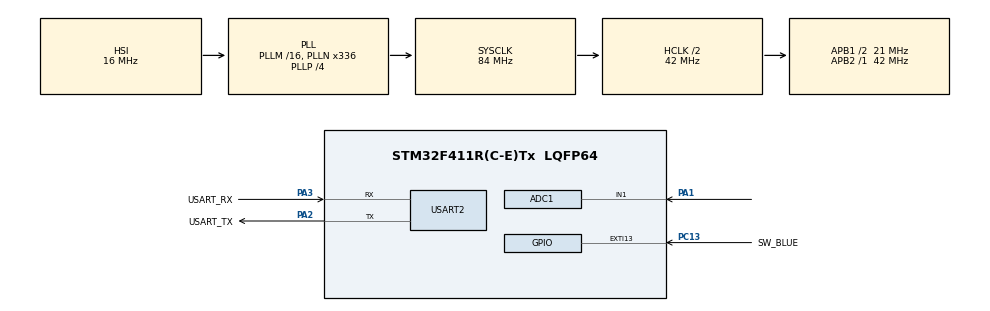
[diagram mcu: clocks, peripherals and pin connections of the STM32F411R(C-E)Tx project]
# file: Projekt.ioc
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ADC1.Channel-0\#ChannelRegularConversion=ADC_CHANNEL_1
ADC1.ClockPrescaler=ADC_CLOCK_SYNC_PCLK_DIV8
ADC1.ContinuousConvMode=ENABLE
ADC1.DMAContinuousRequests=ENABLE
ADC1.NbrOfConversion=1
ADC1.NbrOfConversionFlag=1
ADC1.Rank-0\#ChannelRegularConversion=1
ADC1.Resolution=ADC_RESOLUTION_12B
ADC1.SamplingTime-0\#ChannelRegularConversion=ADC_SAMPLETIME_480CYCLES
ADC1.ScanConvMode=ENABLE
ADC1.master=1
Dma.ADC1.0.Direction=DMA_PERIPH_TO_MEMORY
Dma.ADC1.0.FIFOMode=DMA_FIFOMODE_DISABLE
Dma.ADC1.0.Instance=DMA2_Stream0
Dma.ADC1.0.MemDataAlignment=DMA_MDATAALIGN_HALFWORD
Dma.ADC1.0.MemInc=DMA_MINC_ENABLE
Dma.ADC1.0.Mode=DMA_CIRCULAR
Dma.ADC1.0.PeriphDataAlignment=DMA_PDATAALIGN_HALFWORD
Dma.ADC1.0.PeriphInc=DMA_PINC_DISABLE
Dma.ADC1.0.Priority=DMA_PRIORITY_LOW
Dma.Request0=ADC1
Mcu.Family=STM32F4
Mcu.Name=STM32F411R(C-E)Tx
Mcu.Package=LQFP64
NVIC.ADC_IRQn=true\:0\:0\:false\:false\:true\:true\:true
NVIC.DMA2_Stream0_IRQn=true\:0\:0\:false\:false\:true\:false\:true
NVIC.PriorityGroup=NVIC_PRIORITYGROUP_0
NVIC.USART2_IRQn=true\:0\:0\:false\:false\:true\:true\:true
PA0-WKUP.Signal=ADCx_IN0
PA1.Signal=ADCx_IN1
PA13.GPIO_Label=TMS
PA13.Mode=Serial_Wire
PA13.Signal=SYS_JTMS-SWDIO
PA14.GPIO_Label=TCK
PA14.Mode=Serial_Wire
PA14.Signal=SYS_JTCK-SWCLK
PA2.GPIO_Label=USART_TX
PA2.Mode=Asynchronous
PA2.Signal=USART2_TX
PA3.GPIO_Label=USART_RX
PA3.Mode=Asynchronous
PA3.Signal=USART2_RX
PB3.GPIO_Label=SWO
PB3.Signal=SYS_JTDO-SWO
PC13-ANTI_TAMP.GPIO_Label=SW_BLUE
PC13-ANTI_TAMP.GPIO_ModeDefaultEXTI=GPIO_MODE_IT_FALLING
PC13-ANTI_TAMP.Signal=GPXTI13
PC14-OSC32_IN.Mode=LSE-External-Oscillator
PC14-OSC32_IN.Signal=RCC_OSC32_IN
PC15-OSC32_OUT.Mode=LSE-External-Oscillator
PC15-OSC32_OUT.Signal=RCC_OSC32_OUT
PH0\ -\ OSC_IN.Mode=HSE-External-Clock-Source
PH0\ -\ OSC_IN.Signal=RCC_OSC_IN
PH1\ -\ OSC_OUT.Mode=HSE-External-Clock-Source
PH1\ -\ OSC_OUT.Signal=RCC_OSC_OUT
ProjectManager.HeapSize=0x200
ProjectManager.StackSize=0x400
ProjectManager.TargetToolchain=STM32CubeIDE
RCC.48MHZClocksFreq_Value=84000000
RCC.AHBCLKDivider=RCC_SYSCLK_DIV2
RCC.AHBFreq_Value=42000000
RCC.APB1CLKDivider=RCC_HCLK_DIV2
RCC.APB1Freq_Value=21000000
RCC.APB1TimFreq_Value=42000000
RCC.APB2Freq_Value=42000000
RCC.APB2TimFreq_Value=42000000
RCC.CortexFreq_Value=42000000
RCC.FLatency-AdvancedSettings=FLASH_LATENCY_1
RCC.HCLKFreq_Value=42000000
RCC.HSE_VALUE=8000000
RCC.HSI_VALUE=16000000
RCC.PLLN=336
RCC.PLLP=RCC_PLLP_DIV4
RCC.SYSCLKFreq_VALUE=84000000
RCC.SYSCLKSource=RCC_SYSCLKSOURCE_PLLCLK
RCC.VCOOutputFreq_Value=336000000
SH.ADCx_IN0.0=ADC1_IN0
SH.ADCx_IN1.0=ADC1_IN1,IN1
USART2.VirtualMode=VM_ASYNC
board=NUCLEO-F411RE

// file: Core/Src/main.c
/* USER CODE BEGIN Header */
/**
  ******************************************************************************
  * @file           : main.c
  * @brief          : Main program body
  ******************************************************************************
  * @attention
  *
  * <h2><center>&copy; Copyright (c) 2021 STMicroelectronics.
  * All rights reserved.</center></h2>
  *
  * This software component is licensed by ST under BSD 3-Clause license,
  * the "License"; You may not use this file except in compliance with the
  * License. You may obtain a copy of the License at:
  *                        opensource.org/licenses/BSD-3-Clause
  *
  ******************************************************************************
  */
/* USER CODE END Header */
#include "main.h"

/* USER CODE BEGIN Includes */
#include <string.h>
#include <stdio.h>
#include <stdarg.h>
#include <math.h>
/* USER CODE END Includes */

/* USER CODE BEGIN PD */
void clean_frame(char * tab ,int len);
void clean_after_all(int len);
int tmp_to_hz(uint32_t temp);
void clean_frame(char * tab ,int len);

/* USER CODE END PD */

ADC_HandleTypeDef hadc1;
DMA_HandleTypeDef hdma_adc1;

UART_HandleTypeDef huart2;

/* USER CODE BEGIN PV */
// ZMIENNE DO MySysTick()

uint8_t ms_set=0;
extern uint16_t arg;

//BUFOROWE ZMIENNE

#define USART_TXBUF_LEN 2000 //długość nadawczego bufora
#define USART_RXBUF_LEN 2000 //długość odbiorczego bufora
uint8_t USART_TxBuf[USART_TXBUF_LEN]; //bufor nadawczy
uint8_t USART_RxBuf[USART_RXBUF_LEN]; //bufor odbiorczy

__IO int USART_TX_Empty = 0;
__IO int USART_TX_Busy = 0;
__IO int USART_RX_Empty = 0;
__IO int USART_RX_Busy = 0;

//ZMIENNE DO GENERACJI SINUSA

uint16_t fs = 10000;
const double PI = 3.14;
int f = 1;
int tablica_wartosci[10000];

//ZMIENNE DO CZUJNIKA TEMPERATURY

uint32_t temp;

//ZMIENNE DO RAMKI

#define  FRSTART 0x3A
#define FREND 0x3B
#define FRCOD 0x5C
#define FRCODS 0x61
#define FRCODE 0x62
int fr_busy = 0;
char receiver_name[4];
char sender_name[4];
char command[257];
char frame[264];
int frame_read=0;

//zmienne do testów

int k=0;
int zakonczone = 1;

// zmienne do DMA

uint16_t dma_buff[4096];
uint32_t i=0;
uint32_t suma_dma;

//Zmienne ogolnie

int sin_transmit = 0;
int hz=0;

/* USER CODE END PV */

void SystemClock_Config(void);
static void MX_GPIO_Init(void);
static void MX_DMA_Init(void);
static void MX_USART2_UART_Init(void);
static void MX_ADC1_Init(void);
/* USER CODE BEGIN PFP */
void MySysTick(int arg){

	static uint16_t ms=0;
	ms++;
	if(ms>arg)
	{
		ms=0;
		ms_set=1;
	}

}

uint8_t USART_RX_IsEmpty(){
	if(USART_RX_Busy == USART_RX_Empty)
	{
		return 0;
	}else{
		return 1;
	}
}//Funkcja sprawdzajacy czy bufor odbiorczy jest pusty

uint8_t USART_GC(){
	uint8_t tmp;
	if(USART_RX_Empty!=USART_RX_Busy)
	{
		tmp = USART_RxBuf[USART_RX_Busy];
		USART_RX_Busy++;
		if(USART_RX_Busy >= USART_RXBUF_LEN) USART_RX_Busy =0;
		return tmp;
	}else
	{
		return 0;
	}
} //Funkcja zwracająca znak

uint16_t USART_GD(char *buf){
	static uint8_t bf[1052];
	static uint16_t index=0;
	uint8_t buff_helper[1052];
	uint16_t len_com;
	while(USART_RX_IsEmpty())
	{
		bf[index] = USART_GC();
		if(bf[index] == FRSTART){
			frame_read = 1;
			bf[0] = bf[index];
			index = 0;
		}
		if (frame_read == 1) {
			if ((bf[index] == FREND)) {
				for (int i = 0; i <= index; i++) {
					buff_helper[i] = bf[i];
				}
				len_com = index;
				int y = 0, i = 0;
				if (len_com > 6) {
					while (i <= len_com) {
						char singlefrchar = buff_helper[i];
						switch (singlefrchar) {
						case FRCOD: {
							if (buff_helper[i + 1] == FRCODS) {
								frame[y] = FRSTART;
								i++;
							} else if (buff_helper[i + 1] == FRCODE) {
								frame[y] = FREND;
								i++;
							} else if (buff_helper[i + 1] == FRCOD) {
								frame[y] = FRCOD;
								i++;
							} else {
								i = len_com;
							}
							break;
						}
						case FREND: {
							memcpy(sender_name, &frame[1], 3);
							memcpy(receiver_name, &frame[4], 3);
							memcpy(command, &frame[7], (y - 6));
							//					wykonywanie komendy
							if (memcmp("STM", receiver_name, 3) == 0
									&& memcmp("STM", sender_name, 3) != 0) {
								if (memcmp("", command, 1) == 0) {
									USART_send(":STM%sFREMPTY;\r\n", sender_name);
									clean_after_all(y);
								} else {
									if (memcmp("temp", command, 4) == 0) {
										USART_send(":STM%stemp,%i;\r\n", sender_name,temp);
										clean_after_all(y);
									} else if (memcmp("sin", command, 3) == 0) {
										sin_transmit = 1;
										hz = tmp_to_hz(temp);
									} else if (memcmp("hz", command, 2) == 0) {
										hz = tmp_to_hz(temp);
										USART_send(":STM%shz,%i;\r\n", sender_name, hz);
										clean_after_all(y);

									} else {
										USART_send(":STM%sCOM404;\r\n", sender_name);
										clean_after_all(y);

									}
								}
							} else {
								clean_after_all(y);
							}
							break;
						}
						default: {
							frame[y] = buff_helper[i];
						}
						}
						y++;
						i++;
					}
				}
				index = 0;
			} else {
				index++;
				if (index > 526) {
					index = 0;
					frame_read = 0;
				}
			}
		}
	}
	return 0;
}//Funkcja odbierająca dane

void USART_send(char* format,...){
	char tmp_s[1052];
	int i;
	__IO int index;
	va_list arglist;
	va_start(arglist,format);
	vsprintf(tmp_s,format,arglist);
	va_end(arglist);
	index=USART_TX_Empty;
	for(i=0;i<strlen(tmp_s);i++){
		USART_TxBuf[index] = tmp_s[i];
		index++;
		if(index >= USART_TXBUF_LEN) index=0;
	}

	__disable_irq();
	if((USART_TX_Empty == USART_TX_Busy) && (__HAL_UART_GET_FLAG(&huart2,UART_FLAG_TXE)==SET)){ //2 parametr sprawdza bufor nadajnika
		USART_TX_Empty = index;
		uint8_t tmp=USART_TxBuf[USART_TX_Busy];
		USART_TX_Busy++;
		if(USART_TX_Busy >= USART_TXBUF_LEN) USART_TX_Busy = 0;
		HAL_UART_Transmit_IT(&huart2,&tmp,1);

	}else{
		USART_TX_Empty = index;
	}
	__enable_irq();
}//Funkcja wysyłająca dane

void HAL_UART_TxCpltCallback(UART_HandleTypeDef *huart){
	if(huart == &huart2){
		if(USART_TX_Empty != USART_TX_Busy){
			uint8_t tmp= USART_TxBuf[USART_TX_Busy];
			USART_TX_Busy++;
			if(USART_TX_Busy >= USART_TXBUF_LEN) USART_TX_Busy =0;
			HAL_UART_Transmit_IT(&huart2, &tmp , 1);
		}
	}
}

void HAL_UART_RxCpltCallback(UART_HandleTypeDef *huart){
	if(huart == &huart2){
		USART_RX_Empty++;
		if(USART_RX_Empty >= USART_RXBUF_LEN) USART_RX_Empty=0;
		HAL_UART_Receive_IT(&huart2, &USART_RxBuf[USART_RX_Empty], 1);
	}
}

void HAL_ADC_ConvCpltCallback(ADC_HandleTypeDef* hadc1){
	int i;
	suma_dma=0;
	for(i= 2048 ; i<4096 ; i++){
		suma_dma += dma_buff[i];
	}
	temp = (((suma_dma/2048)*3.3)/4095)*100;
}

void HAL_ADC_ConvHalfCpltCallback(ADC_HandleTypeDef* hadc1){
	int i;
	suma_dma=0;
	for(i= 0 ; i<2048 ; i++){
		suma_dma += dma_buff[i];
	}
	temp = (((suma_dma/2048)*3.3)/4095)*100;
}

void generacja_sinusa(int  *tablica_wartosci ) {

	int n,f=1; // n = ilość próbek na jeden okres sygnału
	double faza_sygnalu;
	uint16_t i = 0;
	n = fs / f; //obliczenie ilości próbek w momencie zmiany f

	while (i < n) {
		faza_sygnalu = ((i * 2 * PI * f) / fs);
		*(tablica_wartosci+i) = 2048 + (sin(faza_sygnalu) * 2048);
		i = i + 1;
	}
	i = 0;
}// Funkcja generująca sinusa

void clean_frame(char * tab ,int len){

	for(int i = 0 ; i<=len ; i++)
	{
		*(tab+i) = '\0';
	}
}

void clean_after_all(int len){

	clean_frame(frame, len);
	clean_frame(command, (len - 6));

}

int tmp_to_hz(uint32_t temp){
	int value,hz=200;
	value = 55+temp;
	for(int i =0 ; i<value;i++){
		hz+=9;
	}
	return hz;
}

/* USER CODE END PFP */

int main(void)
{

  /* MCU Configuration--------------------------------------------------------*/

  /* Reset of all peripherals, Initializes the Flash interface and the Systick. */
  HAL_Init();

  /* Configure the system clock */
  SystemClock_Config();

  /* Initialize all configured peripherals */
  MX_GPIO_Init();
  MX_DMA_Init();
  MX_USART2_UART_Init();
  MX_ADC1_Init();
  /* USER CODE BEGIN 2 */
  HAL_UART_Receive_IT(&huart2, &USART_RxBuf[0], 1);
  HAL_ADC_Start_DMA(&hadc1,dma_buff, 4096); // Start ADC z DMA

  int len = 0,b=0,a=0;
  char bx[1052]; //ewentualnie 526
  clean_frame(bx, 1051);
  generacja_sinusa(tablica_wartosci);
  clean_frame(frame, len);
  arg=200;
  /* USER CODE END 2 */

  /* Infinite loop */
  /* USER CODE BEGIN WHILE */
	while (1) {

		if(ms_set==1){
			USART_GD(bx);
			ms_set=0;
		}
		if (sin_transmit == 1) {
			arg = 50;
			if(a > 9999){
				sin_transmit=0;
				a=0;
				b=0;
				clean_after_all(10);
				arg=200;
			}else{
				if(ms_set==1){
					USART_send(":STM%ssin,%i,%i;\r\n", sender_name ,b,tablica_wartosci[a]);
					ms_set=0;
					a+=hz;
					b++;
				}
			}
		}
    /* USER CODE END WHILE */

  }
}

void SystemClock_Config(void)
{
  RCC_OscInitTypeDef RCC_OscInitStruct = {0};
  RCC_ClkInitTypeDef RCC_ClkInitStruct = {0};

  /** Configure the main internal regulator output voltage
  */
  __HAL_RCC_PWR_CLK_ENABLE();
  __HAL_PWR_VOLTAGESCALING_CONFIG(PWR_REGULATOR_VOLTAGE_SCALE1);
  /** Initializes the RCC Oscillators according to the specified parameters
  * in the RCC_OscInitTypeDef structure.
  */
  RCC_OscInitStruct.OscillatorType = RCC_OSCILLATORTYPE_HSI;
  RCC_OscInitStruct.HSIState = RCC_HSI_ON;
  RCC_OscInitStruct.HSICalibrationValue = RCC_HSICALIBRATION_DEFAULT;
  RCC_OscInitStruct.PLL.PLLState = RCC_PLL_ON;
  RCC_OscInitStruct.PLL.PLLSource = RCC_PLLSOURCE_HSI;
  RCC_OscInitStruct.PLL.PLLM = 16;
  RCC_OscInitStruct.PLL.PLLN = 336;
  RCC_OscInitStruct.PLL.PLLP = RCC_PLLP_DIV4;
  RCC_OscInitStruct.PLL.PLLQ = 4;
  if (HAL_RCC_OscConfig(&RCC_OscInitStruct) != HAL_OK)
  {
    Error_Handler();
  }
  /** Initializes the CPU, AHB and APB buses clocks
  */
  RCC_ClkInitStruct.ClockType = RCC_CLOCKTYPE_HCLK|RCC_CLOCKTYPE_SYSCLK
                              |RCC_CLOCKTYPE_PCLK1|RCC_CLOCKTYPE_PCLK2;
  RCC_ClkInitStruct.SYSCLKSource = RCC_SYSCLKSOURCE_PLLCLK;
  RCC_ClkInitStruct.AHBCLKDivider = RCC_SYSCLK_DIV2;
  RCC_ClkInitStruct.APB1CLKDivider = RCC_HCLK_DIV2;
  RCC_ClkInitStruct.APB2CLKDivider = RCC_HCLK_DIV1;

  if (HAL_RCC_ClockConfig(&RCC_ClkInitStruct, FLASH_LATENCY_1) != HAL_OK)
  {
    Error_Handler();
  }
}

static void MX_ADC1_Init(void)
{

  ADC_ChannelConfTypeDef sConfig = {0};

  /** Configure the global features of the ADC (Clock, Resolution, Data Alignment and number of conversion)
  */
  hadc1.Instance = ADC1;
  hadc1.Init.ClockPrescaler = ADC_CLOCK_SYNC_PCLK_DIV8;
  hadc1.Init.Resolution = ADC_RESOLUTION_12B;
  hadc1.Init.ScanConvMode = ENABLE;
  hadc1.Init.ContinuousConvMode = ENABLE;
  hadc1.Init.DiscontinuousConvMode = DISABLE;
  hadc1.Init.ExternalTrigConvEdge = ADC_EXTERNALTRIGCONVEDGE_NONE;
  hadc1.Init.ExternalTrigConv = ADC_SOFTWARE_START;
  hadc1.Init.DataAlign = ADC_DATAALIGN_RIGHT;
  hadc1.Init.NbrOfConversion = 1;
  hadc1.Init.DMAContinuousRequests = ENABLE;
  hadc1.Init.EOCSelection = ADC_EOC_SINGLE_CONV;
  if (HAL_ADC_Init(&hadc1) != HAL_OK)
  {
    Error_Handler();
  }
  /** Configure for the selected ADC regular channel its corresponding rank in the sequencer and its sample time.
  */
  sConfig.Channel = ADC_CHANNEL_1;
  sConfig.Rank = 1;
  sConfig.SamplingTime = ADC_SAMPLETIME_480CYCLES;
  if (HAL_ADC_ConfigChannel(&hadc1, &sConfig) != HAL_OK)
  {
    Error_Handler();
  }

}

static void MX_USART2_UART_Init(void)
{

  huart2.Instance = USART2;
  huart2.Init.BaudRate = 115200;
  huart2.Init.WordLength = UART_WORDLENGTH_8B;
  huart2.Init.StopBits = UART_STOPBITS_1;
  huart2.Init.Parity = UART_PARITY_NONE;
  huart2.Init.Mode = UART_MODE_TX_RX;
  huart2.Init.HwFlowCtl = UART_HWCONTROL_NONE;
  huart2.Init.OverSampling = UART_OVERSAMPLING_16;
  if (HAL_UART_Init(&huart2) != HAL_OK)
  {
    Error_Handler();
  }

}

static void MX_DMA_Init(void)
{

  /* DMA controller clock enable */
  __HAL_RCC_DMA2_CLK_ENABLE();

  /* DMA interrupt init */
  /* DMA2_Stream0_IRQn interrupt configuration */
  HAL_NVIC_SetPriority(DMA2_Stream0_IRQn, 0, 0);
  HAL_NVIC_EnableIRQ(DMA2_Stream0_IRQn);

}

static void MX_GPIO_Init(void)
{
  GPIO_InitTypeDef GPIO_InitStruct = {0};

  /* GPIO Ports Clock Enable */
  __HAL_RCC_GPIOC_CLK_ENABLE();
  __HAL_RCC_GPIOH_CLK_ENABLE();
  __HAL_RCC_GPIOA_CLK_ENABLE();
  __HAL_RCC_GPIOB_CLK_ENABLE();

  /*Configure GPIO pin : SW_BLUE_Pin */
  GPIO_InitStruct.Pin = SW_BLUE_Pin;
  GPIO_InitStruct.Mode = GPIO_MODE_IT_FALLING;
  GPIO_InitStruct.Pull = GPIO_NOPULL;
  HAL_GPIO_Init(SW_BLUE_GPIO_Port, &GPIO_InitStruct);

}

void Error_Handler(void)
{
}

/************************ (C) COPYRIGHT STMicroelectronics *****END OF FILE****/
